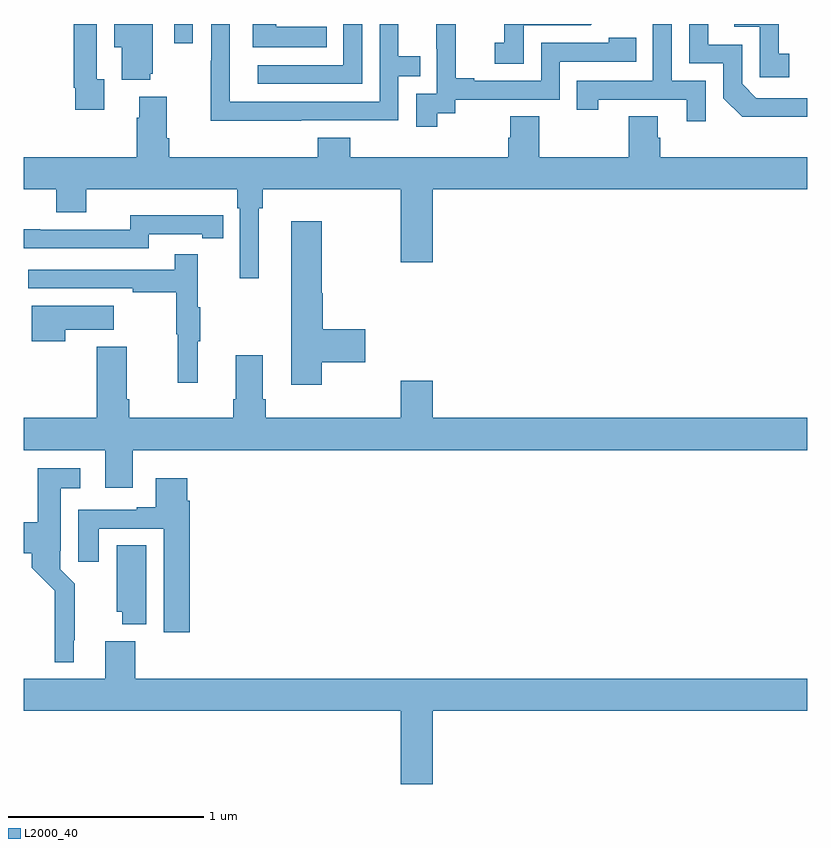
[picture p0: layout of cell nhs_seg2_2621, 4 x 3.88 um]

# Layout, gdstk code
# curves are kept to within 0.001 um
import gdstk
lib = gdstk.Library(unit=1e-6, precision=1e-09)
def R(c, l, rs):  # rectangles x0, y0, x1, y1
    for r in rs: c.add(gdstk.rectangle(r[:2], r[2:], *l))
def P(c, l, *ps):  # polygons
    for p in ps: c.add(gdstk.Polygon(p, *l))
L2000_40 = (2000, 40)

nhs_seg2_2621 = lib.new_cell('nhs_seg2_2621')
R(nhs_seg2_2621, L2000_40, [(247.767,661.701,247.863,661.8)])
P(nhs_seg2_2621, L2000_40, [(247.646,661.545),(247.657,661.545),(247.657,661.8),(247.46,661.8),(247.46,661.682),(247.499,661.682),(247.499,661.514),(247.646,661.514)],
  [(250.482,661.509),(250.308,661.509),(250.308,661.8),(250.212,661.8),(250.212,661.509),(249.823,661.509),(249.823,661.362),(249.934,661.362),(249.934,661.413),(250.385,661.413),(250.385,661.302),(250.482,661.302)],
  [(249.552,661.794),(249.894,661.794),(249.9,661.8),(249.454,661.8),(249.454,661.705),(249.405,661.705),(249.405,661.596),(249.552,661.596)],
  [(251,661.422),(250.74,661.422),(250.668,661.494),(250.668,661.695),(250.495,661.695),(250.495,661.8),(250.398,661.8),(250.398,661.599),(250.572,661.599),(250.572,661.422),(250.67,661.325),(251,661.325)],
  [(249.112,661.345),(249.204,661.345),(249.204,661.413),(249.738,661.413),(249.738,661.608),(250.127,661.608),(250.127,661.731),(249.987,661.731),(249.987,661.704),(249.642,661.704),(249.642,661.509),(249.301,661.509),(249.301,661.522),(249.206,661.522),(249.206,661.8),(249.107,661.8),(249.107,661.673),(249.108,661.673),(249.108,661.443),(249.003,661.443),(249.003,661.275),(249.112,661.275)],
  [(248.546,661.786),(248.289,661.786),(248.289,661.8),(248.168,661.8),(248.168,661.682),(248.546,661.682)],
  [(247.411,661.518),(247.371,661.518),(247.371,661.8),(247.255,661.8),(247.255,661.474),(247.263,661.474),(247.263,661.362),(247.411,661.362)],
  [(248.727,661.8),(248.631,661.8),(248.631,661.59),(248.193,661.59),(248.193,661.494),(248.727,661.494)],
  [(248.417,661.308),(248.913,661.308),(248.913,661.533),(249.023,661.533),(249.023,661.634),(248.913,661.634),(248.913,661.8),(248.817,661.8),(248.817,661.404),(248.052,661.404),(248.052,661.8),(247.956,661.8),(247.956,661.613),(247.954,661.613),(247.954,661.307),(248.417,661.307)],
  [(250.909,661.647),(250.856,661.647),(250.856,661.8),(250.629,661.8),(250.629,661.785),(250.758,661.785),(250.758,661.527),(250.909,661.527)],
  [(251,661.12),(250.25,661.12),(250.25,661.218),(250.237,661.218),(250.237,661.328),(250.09,661.328),(250.09,661.12),(249.633,661.12),(249.633,661.328),(249.485,661.328),(249.485,661.218),(249.473,661.218),(249.473,661.12),(248.666,661.12),(248.666,661.219),(248.501,661.219),(248.501,661.12),(247.742,661.12),(247.742,661.216),(247.729,661.216),(247.729,661.429),(247.589,661.429),(247.589,661.322),(247.577,661.322),(247.577,661.12),(247,661.12),(247,660.956),(247.166,660.956),(247.166,660.839),(247.318,660.839),(247.318,660.956),(248.09,660.956),(248.09,660.86),(248.103,660.86),(248.103,660.501),(248.2,660.501),(248.2,660.86),(248.219,660.86),(248.219,660.956),(248.924,660.956),(248.924,660.582),(249.088,660.582),(249.088,660.956),(251,660.956)],
  [(247.638,660.726),(247.91,660.726),(247.91,660.706),(248.018,660.706),(248.018,660.822),(247.91,660.822),(247.91,660.823),(247.542,660.823),(247.542,660.75),(247.082,660.75),(247.082,660.752),(247,660.752),(247,660.654),(247.638,660.654)],
  [(248.52,660.071),(248.743,660.071),(248.743,660.242),(248.525,660.242),(248.525,660.425),(248.52,660.425),(248.52,660.793),(248.366,660.793),(248.366,659.958),(248.52,659.958)],
  [(247.889,660.179),(247.9,660.179),(247.9,660.353),(247.889,660.353),(247.889,660.625),(247.771,660.625),(247.771,660.546),(247.023,660.546),(247.023,660.45),(247.555,660.45),(247.555,660.43),(247.779,660.43),(247.779,660.216),(247.786,660.216),(247.786,659.967),(247.889,659.967)],
  [(247.211,660.239),(247.459,660.239),(247.459,660.361),(247.04,660.361),(247.04,660.18),(247.211,660.18)],
  [(247.555,659.624),(251,659.624),(251,659.788),(249.088,659.788),(249.088,659.977),(248.924,659.977),(248.924,659.788),(248.234,659.788),(248.234,659.884),(248.221,659.884),(248.221,660.109),(248.081,660.109),(248.081,659.884),(248.069,659.884),(248.069,659.788),(247.538,659.788),(247.538,659.884),(247.525,659.884),(247.525,660.151),(247.373,660.151),(247.373,659.788),(247,659.788),(247,659.624),(247.415,659.624),(247.415,659.43),(247.555,659.43)],
  [(247.255,658.651),(247.259,658.651),(247.259,658.942),(247.185,659.016),(247.185,659.11),(247.189,659.11),(247.189,659.429),(247.288,659.429),(247.288,659.53),(247.07,659.53),(247.07,659.254),(247,659.254),(247,659.096),(247.04,659.096),(247.04,659.022),(247.158,658.904),(247.157,658.541),(247.255,658.541)],
  [(247.847,659.366),(247.834,659.366),(247.834,659.479),(247.673,659.479),(247.673,659.332),(247.577,659.332),(247.577,659.319),(247.277,659.319),(247.277,659.052),(247.381,659.052),(247.381,659.223),(247.715,659.223),(247.715,658.692),(247.847,658.692)],
  [(247.624,659.138),(247.475,659.138),(247.475,658.797),(247.502,658.797),(247.502,658.733),(247.624,658.733)],
  [(249.088,658.292),(251,658.292),(251,658.456),(247.568,658.456),(247.568,658.648),(247.415,658.648),(247.415,658.456),(247,658.456),(247,658.292),(248.924,658.292),(248.924,657.918),(249.088,657.918)])

lib.write_gds('nhs_seg2_2621.gds')
